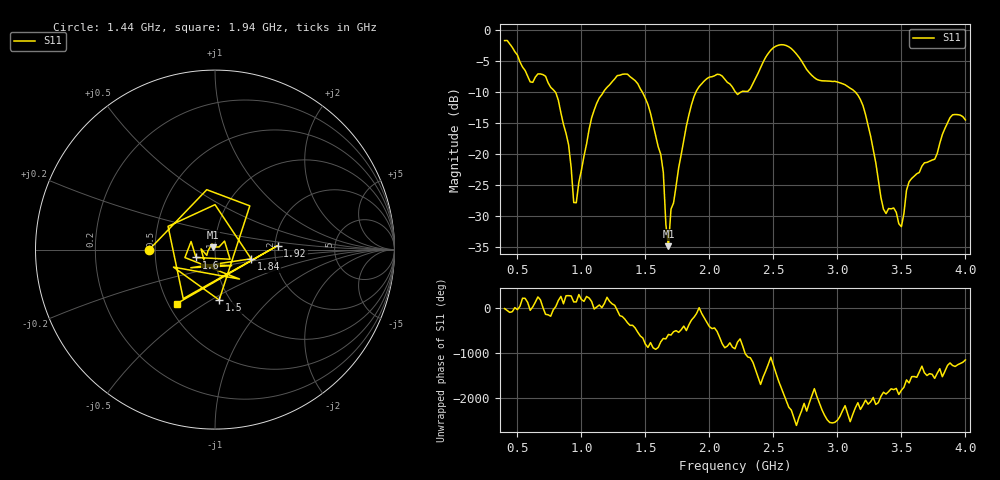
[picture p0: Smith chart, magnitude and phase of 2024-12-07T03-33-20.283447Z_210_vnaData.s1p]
!Created with skrf (http://scikit-rf.org).
# Hz S RI R 50.0
!freq ReS11 ImS11
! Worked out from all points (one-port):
!   181 points, 400 MHz to 4 GHz, reference 50 ohm
!   lowest |S11| = -34.8 dB at 1.68 GHz (marker M1), VSWR 1.04, Z = 48.8 + j1.35 ohm
!   |S11| at or under -10 dB: 796.5 MHz to 1.172 GHz (375.3 MHz wide, 38.1 % of centre); 1.476 GHz to 1.895 GHz (418.6 MHz wide, 24.8 % of centre); 3.141 GHz to end of sweep (the widest 3 of 4)
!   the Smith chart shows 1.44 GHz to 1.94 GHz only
!   S11 on the Smith chart (normalised r, x): 1.44 GHz: 0.46, -0.00; 1.5 GHz: 0.89, -0.54; 1.6 GHz: 0.81, -0.07; 1.84 GHz: 1.49, -0.16; 1.92 GHz: 2.07, +0.11; 1.94 GHz: 0.55, -0.39
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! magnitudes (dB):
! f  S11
! 400 MHz  -1.7
! 600 MHz  -8.3
! 720 MHz  -7.4
! 860 MHz  -15.2
! 960 MHz  -27.8
! 1.1 GHz  -12.9
! 1.3 GHz  -7.3
! 1.44 GHz  -8.6
! 1.5 GHz  -11.0
! 1.6 GHz  -18.8
! 1.64 GHz  -22.9
! 1.68 GHz  -34.8
! 1.7 GHz  -28.9
! 1.76 GHz  -22.2
! 1.84 GHz  -13.7
! 1.92 GHz  -9.1
! 1.94 GHz  -8.7
! 2.2 GHz  -9.9
! 2.5 GHz  -2.8
! 2.66 GHz  -3.4
! 3.1 GHz  -9.4
! 3.2 GHz  -12.2
! 3.38 GHz  -29.6
! 3.5 GHz  -31.7
! 3.56 GHz  -24.5
! 3.76 GHz  -20.8
! 3.9 GHz  -13.7
! 4 GHz  -14.5
